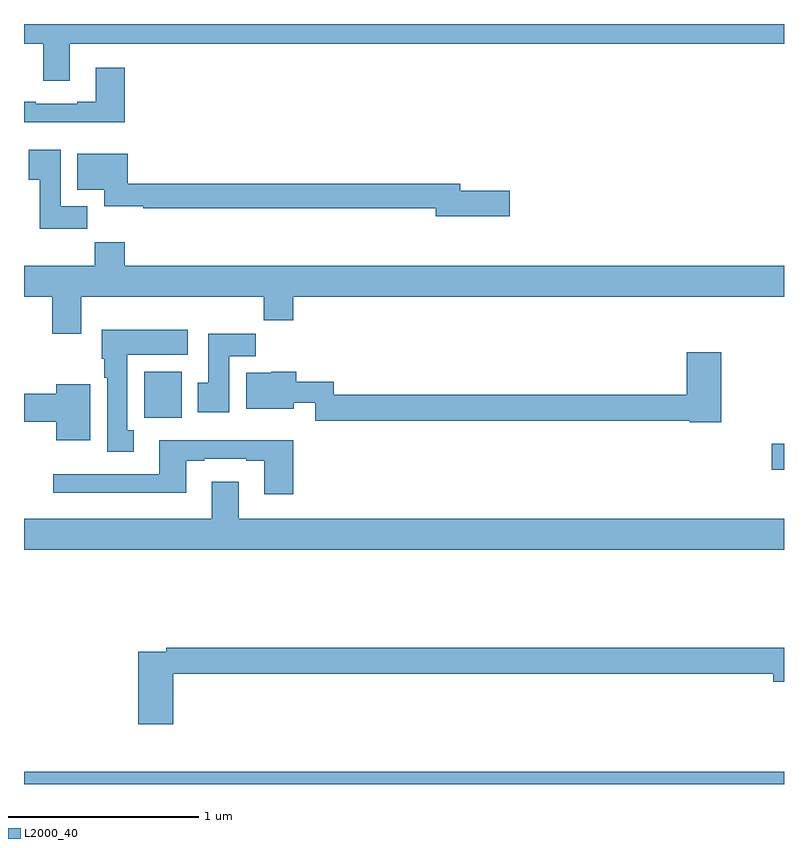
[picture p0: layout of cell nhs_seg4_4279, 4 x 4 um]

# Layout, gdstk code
import gdstk
lib = gdstk.Library(unit=1e-6, precision=1e-09)
def R(c, l, rs):  # rectangles x0, y0, x1, y1
    for r in rs: c.add(gdstk.rectangle(r[:2], r[2:], *l))
def P(c, l, *ps):  # polygons
    for p in ps: c.add(gdstk.Polygon(p, *l))
L2000_40 = (2000, 40)

nhs_seg4_4279 = lib.new_cell('nhs_seg4_4279')
R(nhs_seg4_4279, L2000_40, [(339,816.9,343,816.964), (342.936,818.555,343,818.69), (339.632,818.828,339.829,819.07)])
P(nhs_seg4_4279, L2000_40, [(339.241,820.796),(343,820.796),(343,820.9),(339,820.9),(339,820.796),(339.101,820.796),(339.101,820.602),(339.241,820.602)],
  [(339.53,820.669),(339.377,820.669),(339.377,820.492),(339.281,820.492),(339.281,820.479),(339.061,820.479),(339.061,820.492),(339,820.492),(339,820.382),(339.53,820.382)],
  [(339.332,819.94),(339.193,819.94),(339.193,820.237),(339.026,820.237),(339.026,820.081),(339.083,820.081),(339.083,819.822),(339.332,819.822)],
  [(341.557,820.022),(341.296,820.022),(341.296,820.058),(339.545,820.058),(339.545,820.216),(339.281,820.216),(339.281,820.028),(339.422,820.028),(339.422,819.941),(339.628,819.941),(339.628,819.93),(341.168,819.93),(341.168,819.887),(341.557,819.887)],
  [(339.301,819.464),(340.261,819.464),(340.261,819.34),(340.418,819.34),(340.418,819.464),(343,819.464),(343,819.628),(339.53,819.628),(339.53,819.752),(339.373,819.752),(339.373,819.628),(339,819.628),(339,819.464),(339.149,819.464),(339.149,819.27),(339.301,819.27)],
  [(339.577,818.762),(339.544,818.762),(339.544,819.158),(339.862,819.158),(339.862,819.292),(339.41,819.292),(339.41,819.138),(339.422,819.138),(339.422,819.038),(339.437,819.038),(339.437,818.649),(339.577,818.649)],
  [(340.081,819.152),(340.22,819.152),(340.22,819.271),(339.971,819.271),(339.971,819.012),(339.914,819.012),(339.914,818.856),(340.081,818.856)],
  [(342.671,819.172),(342.488,819.172),(342.488,818.948),(340.629,818.948),(340.629,819.016),(340.433,819.016),(340.433,819.07),(340.302,819.07),(340.302,819.064),(340.169,819.064),(340.169,818.876),(340.42,818.876),(340.42,818.906),(340.533,818.906),(340.533,818.812),(342.504,818.812),(342.504,818.804),(342.671,818.804)],
  [(339.349,819.004),(339.17,819.004),(339.17,818.954),(339,818.954),(339,818.807),(339.17,818.807),(339.17,818.708),(339.349,818.708)],
  [(340.418,818.71),(339.713,818.71),(339.713,818.529),(339.153,818.529),(339.153,818.432),(339.853,818.432),(339.853,818.601),(339.949,818.601),(339.949,818.613),(340.169,818.613),(340.169,818.601),(340.265,818.601),(340.265,818.424),(340.418,818.424)],
  [(343,818.296),(340.129,818.296),(340.129,818.491),(339.989,818.491),(339.989,818.296),(339,818.296),(339,818.132),(343,818.132)],
  [(339.785,817.48),(342.944,817.48),(342.944,817.438),(343,817.438),(343,817.616),(339.748,817.616),(339.748,817.596),(339.602,817.596),(339.602,817.215),(339.785,817.215)])

lib.write_gds('nhs_seg4_4279.gds')
